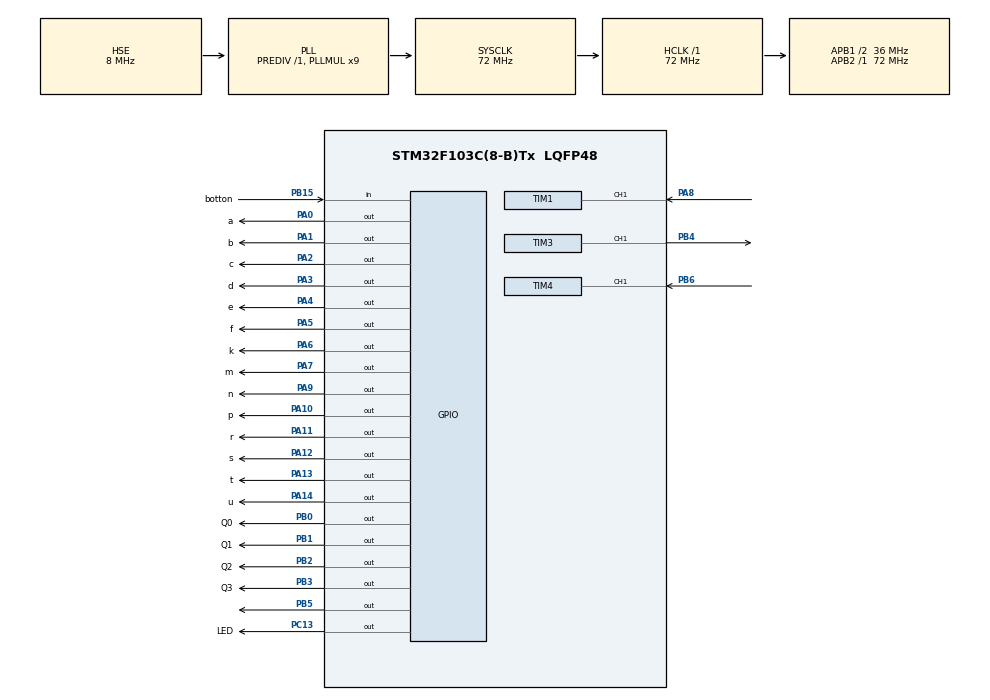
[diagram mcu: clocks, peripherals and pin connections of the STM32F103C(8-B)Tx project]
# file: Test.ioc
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Mcu.Family=STM32F1
Mcu.Name=STM32F103C(8-B)Tx
Mcu.Package=LQFP48
NVIC.PriorityGroup=NVIC_PRIORITYGROUP_4
NVIC.TIM2_IRQn=true\:0\:0\:false\:false\:true\:true\:true\:true
NVIC.TIM3_IRQn=true\:0\:0\:false\:false\:true\:true\:true\:true
NVIC.TIM4_IRQn=true\:0\:0\:false\:false\:true\:true\:true\:true
PA0-WKUP.GPIO_Label=a
PA0-WKUP.Signal=GPIO_Output
PA1.GPIO_Label=b
PA1.Signal=GPIO_Output
PA10.GPIO_Label=p
PA10.Signal=GPIO_Output
PA11.GPIO_Label=r
PA11.Signal=GPIO_Output
PA12.GPIO_Label=s
PA12.Signal=GPIO_Output
PA13.GPIO_Label=t
PA13.Signal=GPIO_Output
PA14.GPIO_Label=u
PA14.Signal=GPIO_Output
PA2.GPIO_Label=c
PA2.Signal=GPIO_Output
PA3.GPIO_Label=d
PA3.Signal=GPIO_Output
PA4.GPIO_Label=e
PA4.Signal=GPIO_Output
PA5.GPIO_Label=f
PA5.Signal=GPIO_Output
PA6.GPIO_Label=k
PA6.Signal=GPIO_Output
PA7.GPIO_Label=m
PA7.Signal=GPIO_Output
PA8.Signal=S_TIM1_CH1
PA9.GPIO_Label=n
PA9.Signal=GPIO_Output
PB0.GPIO_Label=Q0
PB0.Signal=GPIO_Output
PB1.GPIO_Label=Q1
PB1.Signal=GPIO_Output
PB15.GPIO_Label=botton
PB15.Signal=GPIO_Input
PB2.GPIO_Label=Q2
PB2.Signal=GPIO_Output
PB3.GPIO_Label=Q3
PB3.Signal=GPIO_Output
PB4.Signal=S_TIM3_CH1
PB5.Signal=GPIO_Output
PB6.Signal=S_TIM4_CH1
PC13-TAMPER-RTC.GPIO_Label=LED
PC13-TAMPER-RTC.Signal=GPIO_Output
PD0-OSC_IN.Mode=HSE-External-Oscillator
PD0-OSC_IN.Signal=RCC_OSC_IN
PD1-OSC_OUT.Mode=HSE-External-Oscillator
PD1-OSC_OUT.Signal=RCC_OSC_OUT
ProjectManager.HeapSize=0x200
ProjectManager.StackSize=0x400
ProjectManager.TargetToolchain=STM32CubeIDE
RCC.AHBFreq_Value=72000000
RCC.APB1CLKDivider=RCC_HCLK_DIV2
RCC.APB1Freq_Value=36000000
RCC.APB1TimFreq_Value=72000000
RCC.APB2Freq_Value=72000000
RCC.APB2TimFreq_Value=72000000
RCC.HCLKFreq_Value=72000000
RCC.PLLMUL=RCC_PLL_MUL9
RCC.PLLSourceVirtual=RCC_PLLSOURCE_HSE
RCC.SYSCLKFreq_VALUE=72000000
RCC.SYSCLKSource=RCC_SYSCLKSOURCE_PLLCLK
RCC.USBFreq_Value=72000000
SH.S_TIM1_CH1.0=TIM1_CH1,Input_Capture1_from_TI1
SH.S_TIM3_CH1.0=TIM3_CH1,PWM Generation1 CH1
SH.S_TIM4_CH1.0=TIM4_CH1,Input_Capture1_from_TI1
TIM1.Channel-Input_Capture1_from_TI1=TIM_CHANNEL_1
TIM2.Period=10000
TIM2.Prescaler=71
TIM3.Channel-PWM\ Generation1\ CH1=TIM_CHANNEL_1
TIM3.CounterMode=TIM_COUNTERMODE_UP
TIM3.Period=999
TIM3.Prescaler=71
TIM3.Pulse-PWM\ Generation1\ CH1=499
TIM4.Channel-Input_Capture1_from_TI1=TIM_CHANNEL_1
VP_SYS_VS_ND.Mode=No_Debug
VP_TIM2_VS_ClockSourceINT.Mode=Internal
VP_TIM3_VS_ClockSourceINT.Mode=Internal
VP_TIM4_VS_ClockSourceINT.Mode=Internal
board=custom

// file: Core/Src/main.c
/* USER CODE BEGIN Header */
/**
  ******************************************************************************
  * @file           : main.c
  * @brief          : Main program body
  ******************************************************************************
  * @attention
  *
  * Copyright (c) 2026 STMicroelectronics.
  * All rights reserved.
  *
  * This software is licensed under terms that can be found in the LICENSE file
  * in the root directory of this software component.
  * If no LICENSE file comes with this software, it is provided AS-IS.
  *
  ******************************************************************************
  */
/* USER CODE END Header */
#include "main.h"

/* USER CODE BEGIN PD */
#define limite_tiempo 1
/* USER CODE END PD */

TIM_HandleTypeDef htim1;
TIM_HandleTypeDef htim2;
TIM_HandleTypeDef htim3;
TIM_HandleTypeDef htim4;

/* USER CODE BEGIN PV */
int milis=0;
int tiempo_inicio=0;
int tiempo_fin=0;
int estado=0;
int distancia=0;
/* USER CODE END PV */

void SystemClock_Config(void);
static void MX_GPIO_Init(void);
static void MX_TIM1_Init(void);
static void MX_TIM2_Init(void);
static void MX_TIM4_Init(void);
static void MX_TIM3_Init(void);

/* USER CODE BEGIN 0 */
void HAL_TIM_PeriodElapsedCallback(TIM_HandleTypeDef *htim)
{
	//Leer timer 1
    if(htim->Instance == TIM2)
    {
        // Esto ocurre cada 1 ms
    	 milis++;
    }

}

void HAL_TIM_IC_CaptureCallback(TIM_HandleTypeDef *htim)
{
    if(htim->Instance == TIM4)
    {
        if(estado == 0)
        {
            tiempo_inicio = HAL_TIM_ReadCapturedValue(htim, TIM_CHANNEL_1);
            __HAL_TIM_SET_CAPTUREPOLARITY(htim, TIM_CHANNEL_1, TIM_INPUTCHANNELPOLARITY_FALLING);
            estado = 1;
        }
        else
        {
            tiempo_fin = HAL_TIM_ReadCapturedValue(htim, TIM_CHANNEL_1);

            uint32_t tiempo_pulso;

            if(tiempo_fin >= tiempo_inicio)
            {
                tiempo_pulso = tiempo_fin - tiempo_inicio;
            }
            else
            {
                tiempo_pulso = (0xFFFF - tiempo_inicio) + tiempo_fin;
            }

            distancia = tiempo_pulso/58;

            __HAL_TIM_SET_CAPTUREPOLARITY(htim, TIM_CHANNEL_1, TIM_INPUTCHANNELPOLARITY_RISING);
            estado = 0;
        }
    }
}

void delay_us(uint16_t us)
{
    __HAL_TIM_SET_COUNTER(&htim4, 0);
    while (__HAL_TIM_GET_COUNTER(&htim4) < us);
}

//funcion para prender el sensor
void HCSR04_Trigger(void)
{
    HAL_GPIO_WritePin(GPIOB, GPIO_PIN_5, GPIO_PIN_SET);
    delay_us(10);
    HAL_GPIO_WritePin(GPIOB, GPIO_PIN_5, GPIO_PIN_RESET);
}

//Funcion para optener miles
int getMiles(int numero){
	return ((int)numero/1000);
}

//Funcion para optener cientos
int getCientos(int numero, int miles){
	return ((int)(numero-miles)/100);
}

//Funcion para optener unidades
int getDecenas(int numero, int miles, int cientos){
	return ((int)(numero-(miles+cientos))/10);
}

//funcion para optener unidades
int getUnidades(int numero, int miles, int cientos, int decenas){
	return (int)(numero-(miles+cientos+decenas));
}

void Configurar_PWM_PB4(void)
{
	  /* GPIO_InitTypeDef GPIO_InitStruct = {0};

	    __HAL_RCC_GPIOB_CLK_ENABLE();
	    __HAL_RCC_AFIO_CLK_ENABLE();

	    GPIO_InitStruct.Pin = GPIO_PIN_4;
	    GPIO_InitStruct.Mode = GPIO_MODE_AF_PP;
	    GPIO_InitStruct.Speed = GPIO_SPEED_FREQ_HIGH;

	    HAL_GPIO_Init(GPIOB, &GPIO_InitStruct);*/

	    GPIO_InitTypeDef GPIO_InitStruct = {0};
	        __HAL_RCC_GPIOB_CLK_ENABLE();

	        GPIO_InitStruct.Pin = GPIO_PIN_4;
	        GPIO_InitStruct.Mode = GPIO_MODE_AF_PP; // Push-Pull Alterno para PWM
	        GPIO_InitStruct.Speed = GPIO_SPEED_FREQ_HIGH;
	        HAL_GPIO_Init(GPIOB, &GPIO_InitStruct);

}
/* USER CODE END 0 */

int main(void)
{

  /* MCU Configuration--------------------------------------------------------*/

  /* Reset of all peripherals, Initializes the Flash interface and the Systick. */
  HAL_Init();

  /* USER CODE BEGIN Init */
  int numeros[10]={	63,6,91,79,	102,109,125,7,127,111};
  int i=0;
  int cont=0;
  int contAux=0;
  int unidades=0;
  int decenas=0;
  int centenas=0;
  int miles=0;

  int T=0;
  /* USER CODE END Init */

  /* Configure the system clock */
  SystemClock_Config();

  /* Initialize all configured peripherals */
  MX_GPIO_Init();
  MX_TIM1_Init();
  MX_TIM2_Init();
  MX_TIM4_Init();
  MX_TIM3_Init();
  /* USER CODE BEGIN 2 */
  // 1. Habilitar reloj AFIO (necesario para remaps y liberar JTAG)
    __HAL_RCC_AFIO_CLK_ENABLE();
    __HAL_RCC_GPIOB_CLK_ENABLE();

    // 2. Liberar PB4 (el pin por defecto es JTAG-NJTRST)
    __HAL_AFIO_REMAP_SWJ_NOJTAG();

    // 3. Hacer el remap parcial del TIM3 para que CH1 salga por PB4
    __HAL_AFIO_REMAP_TIM3_ENABLE();

    // 4. Configurar el pin físicamente como Función Alterna
  //  Configurar_PWM_PB4();

    // 4. Configuración manual del pin como Salida de Función Alterna
    GPIO_InitTypeDef GPIO_InitStruct = {0};
    GPIO_InitStruct.Pin = GPIO_PIN_4;
    GPIO_InitStruct.Mode = GPIO_MODE_AF_PP;
    GPIO_InitStruct.Speed = GPIO_SPEED_FREQ_HIGH;
    HAL_GPIO_Init(GPIOB, &GPIO_InitStruct);

    // 5. Iniciar el Timer en modo PWM
    HAL_TIM_PWM_Start(&htim3, TIM_CHANNEL_1);

    // 6. Iniciar los demás periféricos
    HAL_TIM_Base_Start_IT(&htim2);
    HAL_TIM_IC_Start_IT(&htim4, TIM_CHANNEL_1);

    // 7. Establecer el valor del Duty Cycle
    TIM3->CCR1 = 500;

  /* USER CODE END 2 */

  /* Infinite loop */
  while (1)
  {

    /* USER CODE BEGIN 3 */

	  //HAL_GPIO_TogglePin (GPIOB, LEDB_Pin);
	  //GPIOA->BSRR = numeros[i];
	  //GPIOA->ODR = (GPIOA->ODR & ~0x007F) | numeros[i];

	  //uint32_t duty = (__HAL_TIM_GET_AUTORELOAD(&htim3) + 1) * 0.5;
	 // __HAL_TIM_SET_COMPARE(&htim3, TIM_CHANNEL_1, duty);
	  //__HAL_TIM_SET_COMPARE(&htim3, TIM_CHANNEL_1, 500);// CCR1 = 500;
	  TIM3->CCR1 = distancia; //a la antigual

	   if(milis==limite_tiempo){
		   //HAL_Delay(20);
		      //HCSR04_Trigger();
		   	  /*contAux++;
		   	  if(contAux==10){
		   		  unidades++;
		   		  contAux=0;
		   	  }
		   	  if(unidades>9){
		   		  unidades=0;
		   		  decenas++;
		   	  }
		   	  if(decenas>9){
		   		  decenas=0;
		   		  centenas++;
		   	  }
		   	  if(centenas>9){
		   		  centenas=0;
		   		  miles++;
		   	  }
		   	  if(miles>9){
		   		  miles=0;
		   	  }*/
		     //distancia=589;
		   	 contAux=distancia;
		   	 miles=getMiles(contAux);
		   	 centenas=getCientos(contAux,miles*1000);
		   	 decenas=getDecenas(contAux,miles*1000,centenas*100);
		   	 unidades=getUnidades(contAux,miles*1000,centenas*100,decenas*10);

		   	 GPIOA->ODR = (GPIOA->ODR & ~0x007F) | 0;
		   	  //Prender transistores
		   	  switch(cont){
		   	  	  case 0:
		   	  		  GPIOA->ODR = (GPIOA->ODR & ~0x007F) | numeros[miles];

		   	  		  //GPIOB->ODR = (GPIOB->ODR & ~0x00F) | 14;
		   	  		  GPIOB->ODR = (GPIOB->ODR & ~0x00F) | 1;
		   	  		  break;
		   	  	  case 1:
		   	  		GPIOA->ODR = (GPIOA->ODR & ~0x007F) | numeros[centenas];

		   	  		//GPIOB->ODR = (GPIOB->ODR & ~0x00F) | 13;
		   	  	     GPIOB->ODR = (GPIOB->ODR & ~0x00F) | 2;
		   	  		  break;
		   	  	  case 2:
		   	  		GPIOA->ODR = (GPIOA->ODR & ~0x007F) | numeros[decenas];

		   	  		//GPIOB->ODR = (GPIOB->ODR & ~0x00F) | 11;
		   	  	    GPIOB->ODR = (GPIOB->ODR & ~0x00F) | 4;
		   	  		  break;
		   	  	  case 3:
		   	  		GPIOA->ODR = (GPIOA->ODR & ~0x007F) | numeros[unidades];

		   	  		//GPIOB->ODR = (GPIOB->ODR & ~0x00F) | 7;
		   	  	    GPIOB->ODR = (GPIOB->ODR & ~0x00F) | 8;
		   	  		  break;

		   	  }
		   	  cont++;
		   	  if(cont>3){
		   		  cont=0;
		   		 HCSR04_Trigger();
		   	  }

		 	   milis=0;
	   }

  }
  /* USER CODE END 3 */
}

void SystemClock_Config(void)
{
  RCC_OscInitTypeDef RCC_OscInitStruct = {0};
  RCC_ClkInitTypeDef RCC_ClkInitStruct = {0};

  /** Initializes the RCC Oscillators according to the specified parameters
  * in the RCC_OscInitTypeDef structure.
  */
  RCC_OscInitStruct.OscillatorType = RCC_OSCILLATORTYPE_HSE;
  RCC_OscInitStruct.HSEState = RCC_HSE_ON;
  RCC_OscInitStruct.HSEPredivValue = RCC_HSE_PREDIV_DIV1;
  RCC_OscInitStruct.HSIState = RCC_HSI_ON;
  RCC_OscInitStruct.PLL.PLLState = RCC_PLL_ON;
  RCC_OscInitStruct.PLL.PLLSource = RCC_PLLSOURCE_HSE;
  RCC_OscInitStruct.PLL.PLLMUL = RCC_PLL_MUL9;
  if (HAL_RCC_OscConfig(&RCC_OscInitStruct) != HAL_OK)
  {
    Error_Handler();
  }

  /** Initializes the CPU, AHB and APB buses clocks
  */
  RCC_ClkInitStruct.ClockType = RCC_CLOCKTYPE_HCLK|RCC_CLOCKTYPE_SYSCLK
                              |RCC_CLOCKTYPE_PCLK1|RCC_CLOCKTYPE_PCLK2;
  RCC_ClkInitStruct.SYSCLKSource = RCC_SYSCLKSOURCE_PLLCLK;
  RCC_ClkInitStruct.AHBCLKDivider = RCC_SYSCLK_DIV1;
  RCC_ClkInitStruct.APB1CLKDivider = RCC_HCLK_DIV2;
  RCC_ClkInitStruct.APB2CLKDivider = RCC_HCLK_DIV1;

  if (HAL_RCC_ClockConfig(&RCC_ClkInitStruct, FLASH_LATENCY_2) != HAL_OK)
  {
    Error_Handler();
  }
}

static void MX_TIM1_Init(void)
{

  TIM_MasterConfigTypeDef sMasterConfig = {0};
  TIM_IC_InitTypeDef sConfigIC = {0};

  htim1.Instance = TIM1;
  htim1.Init.Prescaler = 0;
  htim1.Init.CounterMode = TIM_COUNTERMODE_UP;
  htim1.Init.Period = 65535;
  htim1.Init.ClockDivision = TIM_CLOCKDIVISION_DIV1;
  htim1.Init.RepetitionCounter = 0;
  htim1.Init.AutoReloadPreload = TIM_AUTORELOAD_PRELOAD_DISABLE;
  if (HAL_TIM_IC_Init(&htim1) != HAL_OK)
  {
    Error_Handler();
  }
  sMasterConfig.MasterOutputTrigger = TIM_TRGO_RESET;
  sMasterConfig.MasterSlaveMode = TIM_MASTERSLAVEMODE_DISABLE;
  if (HAL_TIMEx_MasterConfigSynchronization(&htim1, &sMasterConfig) != HAL_OK)
  {
    Error_Handler();
  }
  sConfigIC.ICPolarity = TIM_INPUTCHANNELPOLARITY_RISING;
  sConfigIC.ICSelection = TIM_ICSELECTION_DIRECTTI;
  sConfigIC.ICPrescaler = TIM_ICPSC_DIV1;
  sConfigIC.ICFilter = 0;
  if (HAL_TIM_IC_ConfigChannel(&htim1, &sConfigIC, TIM_CHANNEL_1) != HAL_OK)
  {
    Error_Handler();
  }

}

static void MX_TIM2_Init(void)
{

  TIM_ClockConfigTypeDef sClockSourceConfig = {0};
  TIM_MasterConfigTypeDef sMasterConfig = {0};

  htim2.Instance = TIM2;
  htim2.Init.Prescaler = 71;
  htim2.Init.CounterMode = TIM_COUNTERMODE_UP;
  htim2.Init.Period = 10000;
  htim2.Init.ClockDivision = TIM_CLOCKDIVISION_DIV1;
  htim2.Init.AutoReloadPreload = TIM_AUTORELOAD_PRELOAD_DISABLE;
  if (HAL_TIM_Base_Init(&htim2) != HAL_OK)
  {
    Error_Handler();
  }
  sClockSourceConfig.ClockSource = TIM_CLOCKSOURCE_INTERNAL;
  if (HAL_TIM_ConfigClockSource(&htim2, &sClockSourceConfig) != HAL_OK)
  {
    Error_Handler();
  }
  sMasterConfig.MasterOutputTrigger = TIM_TRGO_RESET;
  sMasterConfig.MasterSlaveMode = TIM_MASTERSLAVEMODE_DISABLE;
  if (HAL_TIMEx_MasterConfigSynchronization(&htim2, &sMasterConfig) != HAL_OK)
  {
    Error_Handler();
  }

}

static void MX_TIM3_Init(void)
{

  TIM_ClockConfigTypeDef sClockSourceConfig = {0};
  TIM_MasterConfigTypeDef sMasterConfig = {0};
  TIM_OC_InitTypeDef sConfigOC = {0};

  htim3.Instance = TIM3;
  htim3.Init.Prescaler = 71;
  htim3.Init.CounterMode = TIM_COUNTERMODE_UP;
  htim3.Init.Period = 999;
  htim3.Init.ClockDivision = TIM_CLOCKDIVISION_DIV1;
  htim3.Init.AutoReloadPreload = TIM_AUTORELOAD_PRELOAD_DISABLE;
  if (HAL_TIM_Base_Init(&htim3) != HAL_OK)
  {
    Error_Handler();
  }
  sClockSourceConfig.ClockSource = TIM_CLOCKSOURCE_INTERNAL;
  if (HAL_TIM_ConfigClockSource(&htim3, &sClockSourceConfig) != HAL_OK)
  {
    Error_Handler();
  }
  if (HAL_TIM_PWM_Init(&htim3) != HAL_OK)
  {
    Error_Handler();
  }
  sMasterConfig.MasterOutputTrigger = TIM_TRGO_RESET;
  sMasterConfig.MasterSlaveMode = TIM_MASTERSLAVEMODE_DISABLE;
  if (HAL_TIMEx_MasterConfigSynchronization(&htim3, &sMasterConfig) != HAL_OK)
  {
    Error_Handler();
  }
  sConfigOC.OCMode = TIM_OCMODE_PWM1;
  sConfigOC.Pulse = 499;
  sConfigOC.OCPolarity = TIM_OCPOLARITY_HIGH;
  sConfigOC.OCFastMode = TIM_OCFAST_DISABLE;
  if (HAL_TIM_PWM_ConfigChannel(&htim3, &sConfigOC, TIM_CHANNEL_1) != HAL_OK)
  {
    Error_Handler();
  }
  //HAL_TIM_MspPostInit(&htim3);

}

static void MX_TIM4_Init(void)
{

  TIM_ClockConfigTypeDef sClockSourceConfig = {0};
  TIM_MasterConfigTypeDef sMasterConfig = {0};
  TIM_IC_InitTypeDef sConfigIC = {0};

  htim4.Instance = TIM4;
  htim4.Init.Prescaler = 0;
  htim4.Init.CounterMode = TIM_COUNTERMODE_UP;
  htim4.Init.Period = 65535;
  htim4.Init.ClockDivision = TIM_CLOCKDIVISION_DIV1;
  htim4.Init.AutoReloadPreload = TIM_AUTORELOAD_PRELOAD_DISABLE;
  if (HAL_TIM_Base_Init(&htim4) != HAL_OK)
  {
    Error_Handler();
  }
  sClockSourceConfig.ClockSource = TIM_CLOCKSOURCE_INTERNAL;
  if (HAL_TIM_ConfigClockSource(&htim4, &sClockSourceConfig) != HAL_OK)
  {
    Error_Handler();
  }
  if (HAL_TIM_IC_Init(&htim4) != HAL_OK)
  {
    Error_Handler();
  }
  sMasterConfig.MasterOutputTrigger = TIM_TRGO_RESET;
  sMasterConfig.MasterSlaveMode = TIM_MASTERSLAVEMODE_DISABLE;
  if (HAL_TIMEx_MasterConfigSynchronization(&htim4, &sMasterConfig) != HAL_OK)
  {
    Error_Handler();
  }
  sConfigIC.ICPolarity = TIM_INPUTCHANNELPOLARITY_RISING;
  sConfigIC.ICSelection = TIM_ICSELECTION_DIRECTTI;
  sConfigIC.ICPrescaler = TIM_ICPSC_DIV1;
  sConfigIC.ICFilter = 0;
  if (HAL_TIM_IC_ConfigChannel(&htim4, &sConfigIC, TIM_CHANNEL_1) != HAL_OK)
  {
    Error_Handler();
  }

}

static void MX_GPIO_Init(void)
{
  GPIO_InitTypeDef GPIO_InitStruct = {0};

  /* GPIO Ports Clock Enable */
  __HAL_RCC_GPIOC_CLK_ENABLE();
  __HAL_RCC_GPIOD_CLK_ENABLE();
  __HAL_RCC_GPIOA_CLK_ENABLE();
  __HAL_RCC_GPIOB_CLK_ENABLE();

  /*Configure GPIO pin Output Level */
  HAL_GPIO_WritePin(LED_GPIO_Port, LED_Pin, GPIO_PIN_RESET);

  /*Configure GPIO pin Output Level */
  HAL_GPIO_WritePin(GPIOA, a_Pin|b_Pin|c_Pin|d_Pin
                          |e_Pin|f_Pin|k_Pin|m_Pin
                          |n_Pin|p_Pin|r_Pin|s_Pin
                          |t_Pin|u_Pin, GPIO_PIN_RESET);

  /*Configure GPIO pin Output Level */
  HAL_GPIO_WritePin(GPIOB, Q0_Pin|Q1_Pin|Q2_Pin|Q3_Pin
                          |GPIO_PIN_5, GPIO_PIN_RESET);

  /*Configure GPIO pin : LED_Pin */
  GPIO_InitStruct.Pin = LED_Pin;
  GPIO_InitStruct.Mode = GPIO_MODE_OUTPUT_PP;
  GPIO_InitStruct.Pull = GPIO_NOPULL;
  GPIO_InitStruct.Speed = GPIO_SPEED_FREQ_LOW;
  HAL_GPIO_Init(LED_GPIO_Port, &GPIO_InitStruct);

  /*Configure GPIO pins : a_Pin b_Pin c_Pin d_Pin
                           e_Pin f_Pin k_Pin m_Pin
                           n_Pin p_Pin r_Pin s_Pin
                           t_Pin u_Pin */
  GPIO_InitStruct.Pin = a_Pin|b_Pin|c_Pin|d_Pin
                          |e_Pin|f_Pin|k_Pin|m_Pin
                          |n_Pin|p_Pin|r_Pin|s_Pin
                          |t_Pin|u_Pin;
  GPIO_InitStruct.Mode = GPIO_MODE_OUTPUT_PP;
  GPIO_InitStruct.Pull = GPIO_NOPULL;
  GPIO_InitStruct.Speed = GPIO_SPEED_FREQ_LOW;
  HAL_GPIO_Init(GPIOA, &GPIO_InitStruct);

  /*Configure GPIO pins : Q0_Pin Q1_Pin Q2_Pin Q3_Pin
                           PB5 */
  GPIO_InitStruct.Pin = Q0_Pin|Q1_Pin|Q2_Pin|Q3_Pin
                          |GPIO_PIN_5;
  GPIO_InitStruct.Mode = GPIO_MODE_OUTPUT_PP;
  GPIO_InitStruct.Pull = GPIO_NOPULL;
  GPIO_InitStruct.Speed = GPIO_SPEED_FREQ_LOW;
  HAL_GPIO_Init(GPIOB, &GPIO_InitStruct);

  /*Configure GPIO pin : botton_Pin */
  GPIO_InitStruct.Pin = botton_Pin;
  GPIO_InitStruct.Mode = GPIO_MODE_INPUT;
  GPIO_InitStruct.Pull = GPIO_NOPULL;
  HAL_GPIO_Init(botton_GPIO_Port, &GPIO_InitStruct);

}

void Error_Handler(void)
{
  __disable_irq();
  while (1)
  {
  }
}
